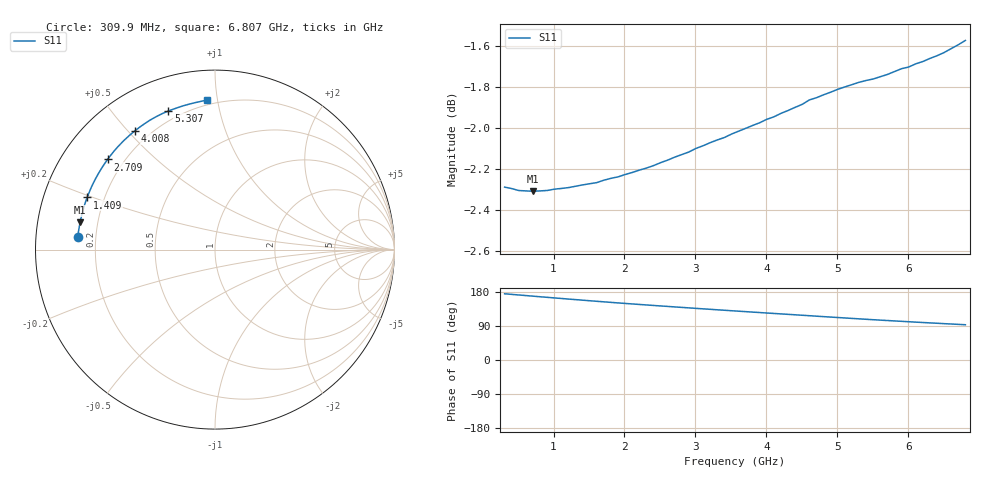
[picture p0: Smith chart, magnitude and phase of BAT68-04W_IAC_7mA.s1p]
! Infineon Technologies  Discrete & RF Semiconductors
! BAT68-04W
! IAC = 7 mA
! One-Port S-Parameters
# Hz  S  MA  R  50
!f  S11
!Hz  Mag  Ang
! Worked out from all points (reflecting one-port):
!   66 points, 309.9 MHz to 6.807 GHz, reference 50 ohm
!   lowest |S11| = -2.3 dB at 709.6 MHz (marker M1), VSWR 7.57, Z = 6.67 + j4.95 ohm
!   phase of S11 starts at 175 deg and turns -82 deg over the sweep
!   S11 on the Smith chart (normalised r, x): 309.9 MHz: 0.13, +0.05; 1.409 GHz: 0.14, +0.19; 2.709 GHz: 0.14, +0.36; 4.008 GHz: 0.14, +0.52; 5.307 GHz: 0.15, +0.71; 6.807 GHz: 0.17, +0.93
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3.0985e8  0.7684 174.7
7.0965e8  0.7666 168.5
1.0095e9  0.7675 163.8
1.2094e9  0.7682 160.8
1.4093e9  0.7694 157.8
1.70915e9  0.7714 153.5
2.009e9  0.7739 149.3
2.30885e9  0.7766 145.3
2.50875e9  0.779 142.6
2.6087e9  0.7801 141.4
2.70865e9  0.7814 140.0
2.8086e9  0.7825 138.8
3.0085e9  0.7853 136.2
3.2084e9  0.7878 133.7
3.6082e9  0.7929 128.8
4.008e9  0.7982 124.0
4.10795e9  0.7993 122.8
4.2079e9  0.8008 121.6
4.4078e9  0.8035 119.3
4.6077e9  0.8068 116.9
4.8076e9  0.8092 114.4
5.2074e9  0.8138 109.7
5.30735e9  0.8148 108.6
5.6072e9  0.8174 105.2
5.8071e9  0.8198 103.1
6.007e9  0.8218 101.0
6.30685e9  0.8258 97.9
6.8066e9  0.8341 93.0
